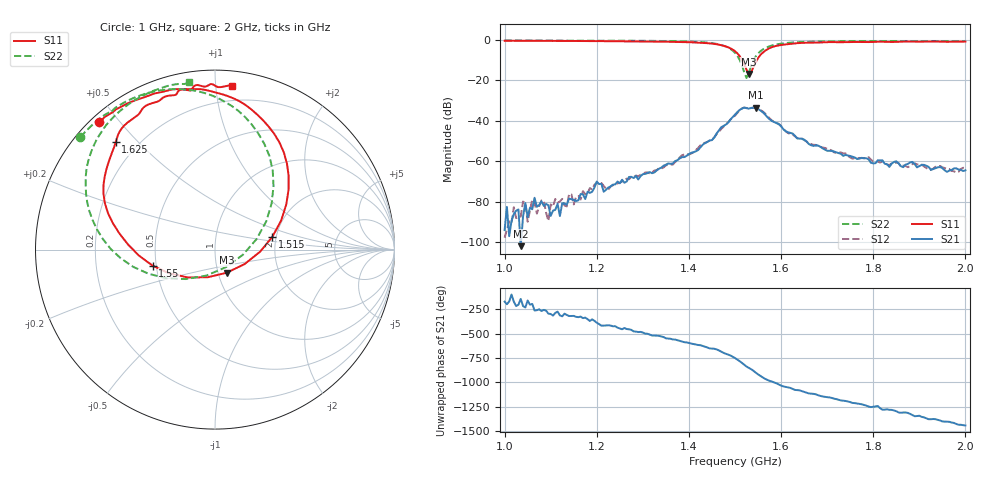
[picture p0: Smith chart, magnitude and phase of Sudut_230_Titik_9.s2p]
# Hz S RI R 50
! CMT, C1220, 16058040, 17.2.0/1
! Date: 14/08/2018 11:57:57
! Data: Format (Calibration Info)
! Freq  S11: Re/Im (F2)  S21: Re/Im (F2)  S12: Re/Im (F2)  S22: Re/Im (F2)
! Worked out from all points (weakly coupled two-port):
!   201 points, 1 GHz to 2 GHz, reference 50 ohm
!   highest |S21| = -33.41 dB at 1.545 GHz (marker M1); lowest = -102.0 dB at 1.035 GHz (marker M2)
!   lowest |S11| = -16.8 dB at 1.53 GHz (marker M3), VSWR 1.34, Z = 55 - j14.5 ohm
!   |S11| at or under -10 dB: 1.516 GHz to 1.547 GHz (31.5 MHz wide, 2.06 % of centre)
!   |S22| runs from -18.8 to -0.2 dB; largest |S21 - S12| = 0.00097
!   S11 on the Smith chart (normalised r, x): 1 GHz: 0.02, +0.44; 1.515 GHz: 1.91, +0.31; 1.55 GHz: 0.48, -0.10; 1.625 GHz: 0.12, +0.43; 2 GHz: 0.10, +1.10
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1e9  -0.6447 0.7124  -1.97e-05 -2.54e-06  5.96e-06 1.14e-05  -0.75 0.627
1.035e9  -0.6182 0.7361  -6.46e-06 -4.63e-06  -2.89e-05 3.16e-05  -0.7256 0.6536
1.135e9  -0.5055 0.8046  5.38e-05 6.55e-05  5.06e-05 5.74e-05  -0.6466 0.727
1.14e9  -0.5009 0.8074  9.19e-05 7.62e-05  0.000113 0.000108  -0.642 0.7305
1.15e9  -0.4936 0.8112  8.38e-05 7.29e-05  6.36e-05 5.72e-05  -0.6325 0.7376
1.17e9  -0.472 0.8214  0.000145 4.73e-05  0.00018 2.84e-05  -0.6122 0.7521
1.175e9  -0.4639 0.8244  0.000107 4.7e-05  0.000153 2.25e-06  -0.6066 0.7554
1.2e9  -0.4293 0.8371  0.000275 -0.000154  0.000247 -0.000165  -0.5783 0.7656
1.215e9  -0.4163 0.8416  9.23e-05 -0.000151  0.000141 -0.000203  -0.5713 0.7737
1.335e9  -0.2146 0.894  -0.000627 -0.000183  -0.000654 -0.000161  -0.3956 0.866
1.45e9  0.1827 0.7964  0.00137 0.00305  0.00163 0.00302  0.0271 0.8386
1.5e9  0.4101 0.3358  0.0123 -0.00745  0.0115 -0.00697  0.3261 0.3535
1.515e9  0.3203 0.0723  0.00294 -0.0199  0.00355 -0.0201  0.232 0.0591
1.525e9  0.1652 -0.0804  -0.00986 -0.0181  -0.00985 -0.0183  0.0602 -0.0981
1.53e9  0.0656 -0.1289  -0.0135 -0.0149  -0.0135 -0.0151  -0.0479 -0.1447
1.545e9  -0.2535 -0.1329  -0.0213 0.000533  -0.0211 6.24e-05  -0.37 -0.1347
1.55e9  -0.3472 -0.0898  -0.0186 0.00644  -0.0189 0.00573  -0.455 -0.0966
1.58e9  -0.6138 0.2596  0.000494 0.00991  0.000904 0.0102  -0.7008 0.2165
1.625e9  -0.5526 0.5991  0.00476 0.00101  0.00449 0.0011  -0.6977 0.5219
1.67e9  -0.4407 0.7413  0.00187 -0.00152  0.00202 -0.00157  -0.6204 0.6741
1.835e9  -0.1456 0.8869  -0.000671 0.000282  -0.000778 0.00022  -0.3702 0.8734
2e9  0.0936 0.9122  0.000597 -3.65e-05  0.000701 -4.87e-05  -0.1467 0.9312
